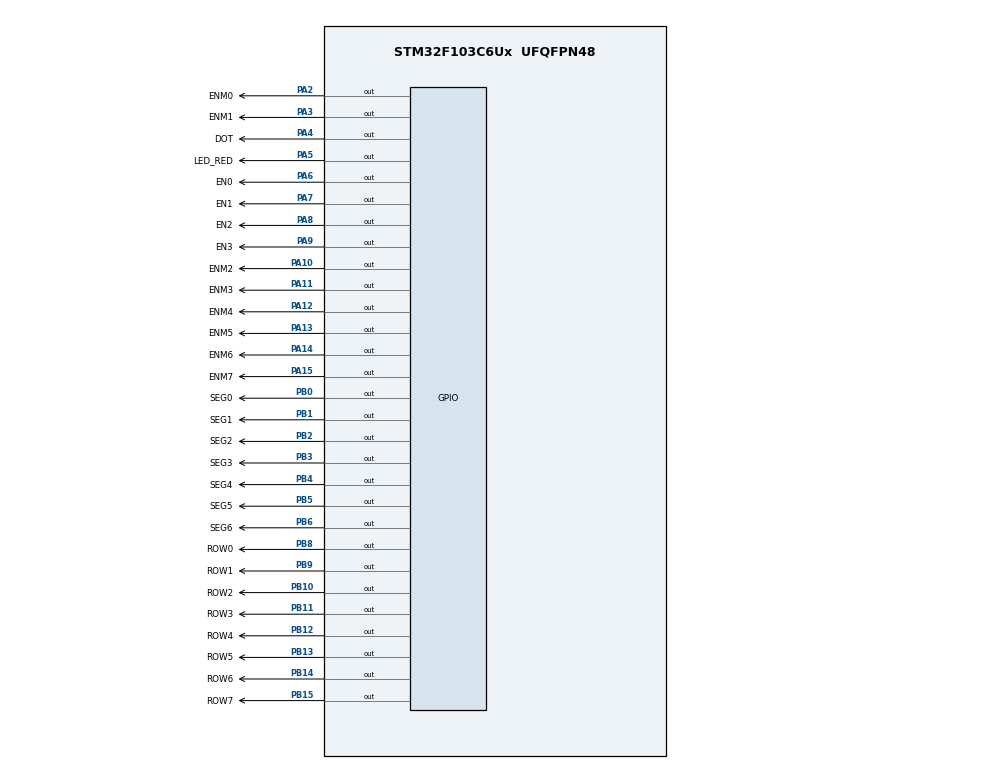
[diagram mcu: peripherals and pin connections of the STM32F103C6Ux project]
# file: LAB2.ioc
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Mcu.Family=STM32F1
Mcu.Name=STM32F103C6Ux
Mcu.Package=UFQFPN48
NVIC.PriorityGroup=NVIC_PRIORITYGROUP_4
NVIC.TIM2_IRQn=true\:0\:0\:false\:false\:true\:true\:true
PA10.GPIO_Label=ENM2
PA10.Signal=GPIO_Output
PA11.GPIO_Label=ENM3
PA11.Signal=GPIO_Output
PA12.GPIO_Label=ENM4
PA12.Signal=GPIO_Output
PA13.GPIO_Label=ENM5
PA13.Signal=GPIO_Output
PA14.GPIO_Label=ENM6
PA14.Signal=GPIO_Output
PA15.GPIO_Label=ENM7
PA15.Signal=GPIO_Output
PA2.GPIO_Label=ENM0
PA2.Signal=GPIO_Output
PA3.GPIO_Label=ENM1
PA3.Signal=GPIO_Output
PA4.GPIO_Label=DOT
PA4.Signal=GPIO_Output
PA5.GPIO_Label=LED_RED
PA5.Signal=GPIO_Output
PA6.GPIO_Label=EN0
PA6.Signal=GPIO_Output
PA7.GPIO_Label=EN1
PA7.Signal=GPIO_Output
PA8.GPIO_Label=EN2
PA8.Signal=GPIO_Output
PA9.GPIO_Label=EN3
PA9.Signal=GPIO_Output
PB0.GPIO_Label=SEG0
PB0.Signal=GPIO_Output
PB1.GPIO_Label=SEG1
PB1.Signal=GPIO_Output
PB10.GPIO_Label=ROW2
PB10.Signal=GPIO_Output
PB11.GPIO_Label=ROW3
PB11.Signal=GPIO_Output
PB12.GPIO_Label=ROW4
PB12.Signal=GPIO_Output
PB13.GPIO_Label=ROW5
PB13.Signal=GPIO_Output
PB14.GPIO_Label=ROW6
PB14.Signal=GPIO_Output
PB15.GPIO_Label=ROW7
PB15.Signal=GPIO_Output
PB2.GPIO_Label=SEG2
PB2.Signal=GPIO_Output
PB3.GPIO_Label=SEG3
PB3.Signal=GPIO_Output
PB4.GPIO_Label=SEG4
PB4.Signal=GPIO_Output
PB5.GPIO_Label=SEG5
PB5.Signal=GPIO_Output
PB6.GPIO_Label=SEG6
PB6.Signal=GPIO_Output
PB8.GPIO_Label=ROW0
PB8.Signal=GPIO_Output
PB9.GPIO_Label=ROW1
PB9.Signal=GPIO_Output
ProjectManager.HeapSize=0x200
ProjectManager.StackSize=0x400
ProjectManager.TargetToolchain=STM32CubeIDE
RCC.APB1Freq_Value=8000000
RCC.APB2Freq_Value=8000000
TIM2.Period=9
TIM2.Prescaler=7999
VP_SYS_VS_ND.Mode=No_Debug
VP_TIM2_VS_ClockSourceINT.Mode=Internal
board=custom

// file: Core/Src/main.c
/* USER CODE BEGIN Header */
/**
  ******************************************************************************
  * @file           : main.c
  * @brief          : Main program body
  ******************************************************************************
  * @attention
  *
  * <h2><center>&copy; Copyright (c) 2024 STMicroelectronics.
  * All rights reserved.</center></h2>
  *
  * This software component is licensed by ST under BSD 3-Clause license,
  * the "License"; You may not use this file except in compliance with the
  * License. You may obtain a copy of the License at:
  *                        opensource.org/licenses/BSD-3-Clause
  *
  ******************************************************************************
  */
/* USER CODE END Header */
#include "main.h"
#include "software_timer.h"

TIM_HandleTypeDef htim2;

/* USER CODE BEGIN PV */
int counter = 100;
int counter_led = 100;
/* USER CODE END PV */

void SystemClock_Config(void);
static void MX_GPIO_Init(void);
static void MX_TIM2_Init(void);

/* USER CODE BEGIN 0 */
uint8_t segmentNumber[10] = {0xc0,0xf9,0xa4,0xb0,0x99,0x92,0x82,0xf8,0x80,0x90};
void display7SEG(int num){
    uint8_t number = segmentNumber[num];
	//Check a nth bit by shifting n times to the right, then bitwise AND it:
	HAL_GPIO_WritePin(GPIOB, GPIO_PIN_0, ((number>>0)&0x01));
	HAL_GPIO_WritePin(GPIOB, GPIO_PIN_1, ((number>>1)&0x01));
	HAL_GPIO_WritePin(GPIOB, GPIO_PIN_2, ((number>>2)&0x01));
	HAL_GPIO_WritePin(GPIOB, GPIO_PIN_3, ((number>>3)&0x01));
	HAL_GPIO_WritePin(GPIOB, GPIO_PIN_4, ((number>>4)&0x01));
	HAL_GPIO_WritePin(GPIOB, GPIO_PIN_5, ((number>>5)&0x01));
	HAL_GPIO_WritePin(GPIOB, GPIO_PIN_6, ((number>>6)&0x01));
}

void ex1()
{
	HAL_GPIO_WritePin(EN2_GPIO_Port, EN2_Pin, 1);
	HAL_GPIO_WritePin(EN3_GPIO_Port, EN3_Pin, 1);

	counter--;
	if(counter > 50)
	{
		HAL_GPIO_WritePin(EN0_GPIO_Port, EN0_Pin, 0);
		HAL_GPIO_WritePin(EN1_GPIO_Port, EN1_Pin, 1);
		display7SEG(1);
	}
	if(counter <= 50)
	{
		HAL_GPIO_WritePin(EN0_GPIO_Port, EN0_Pin, 1);
		HAL_GPIO_WritePin(EN1_GPIO_Port, EN1_Pin, 0);
		display7SEG(2);
		if(counter <= 0)
			counter = 100;
	}
}

void toggle_ex2(int a, int b, int c, int d)
{
	HAL_GPIO_WritePin(EN0_GPIO_Port, EN0_Pin, a);
	HAL_GPIO_WritePin(EN1_GPIO_Port, EN1_Pin, b);
	HAL_GPIO_WritePin(EN2_GPIO_Port, EN2_Pin, c);
	HAL_GPIO_WritePin(EN3_GPIO_Port, EN3_Pin, d);
}

void ex2()
{
	counter--;
	counter_led--;

	if(counter > 150)
	{
		toggle_ex2(0, 1, 1, 1);
		display7SEG(0);
	}
	if(counter <= 150  && counter > 100)
	{
		toggle_ex2(1, 0, 1, 1);
		display7SEG(0);
	}
	if(counter <= 100  && counter > 50)
	{
		toggle_ex2(1, 1, 0, 1);
		display7SEG(3);
	}
	if(counter <= 50)
	{
		toggle_ex2(1, 1, 1, 0);
		display7SEG(0);
		if(counter <= 0)
		{
			counter = 200;
		}

	}

	if(counter_led > 50){
		HAL_GPIO_WritePin(DOT_GPIO_Port, DOT_Pin, 0);
		HAL_GPIO_WritePin(LED_RED_GPIO_Port, LED_RED_Pin, 1);
	}
	else
	{
		HAL_GPIO_WritePin(DOT_GPIO_Port, DOT_Pin, 1);
		HAL_GPIO_WritePin(LED_RED_GPIO_Port, LED_RED_Pin, 0);
		if(counter_led<= 0)
			counter_led = 100;
	}
}

const int MAX_LED = 4;
int index_led = 0;
int led_buffer [4] = {1 , 2 , 3 , 4};
void update7SEG ( int index ){
	switch ( index ) {
	  case 0:
		  toggle_ex2(0, 1, 1, 1);
		  display7SEG(led_buffer[0]);
		  break;
	  case 1:
		  toggle_ex2(1, 0, 1, 1);
		  display7SEG(led_buffer[1]);
		  break;
	  case 2:
		  toggle_ex2(1, 1, 0, 1);
		  display7SEG(led_buffer[2]);
		  break;
	  case 3:
		  toggle_ex2(1, 1, 1, 0);
		  display7SEG(led_buffer[3]);
		  break;
	  default:
		  toggle_ex2(0, 1, 1, 1);
		  display7SEG(led_buffer[0]);
		  break;
	}
}

void ex4(){
	if(counter > 0){
	  counter--;
	  if (counter <= 0) {
	    counter = 25;
	    if(index_led >= 4)
	      index_led = 0;
	    update7SEG(index_led);
	    index_led++;
	   }
	 }
	if (counter_led > 0){
	  counter_led--;
	  if(counter_led <= 0){
		  counter_led = 100;
	    HAL_GPIO_TogglePin(DOT_GPIO_Port, DOT_Pin);
	    HAL_GPIO_TogglePin(LED_RED_GPIO_Port, LED_RED_Pin);
	    }
	  }
}

int hour = 15, minute = 8, second = 50; //global variables
void updateClockBuffer(){
    //update values for the array led_buffer according to the values of hour and minute.
    led_buffer[0] = hour/10;
    led_buffer[1] = hour%10;
    led_buffer[2] = minute/10;
    led_buffer[3] = minute%10;
}

void ex5_6_7_8()
{
	if(timer1_flag == 1)
	{
		setTimer1(100);
	    second++;
	    if (second >= 60){
	        second = 0;
	        minute++;
	    }
	    if(minute >= 60){
	        minute = 0;
	        hour++;
	    }
	    if(hour >=24){
	        hour = 0;
	    }

	}

	if(timer2_flag == 1)
	{
		updateClockBuffer();
		if(index_led >= 4)
			index_led = 0;
		update7SEG(index_led++);
		setTimer2(25);//every 0.5s will move to next LEDs.
	}

	if(timer3_flag == 1)
	{
		setTimer3(100);
	    HAL_GPIO_TogglePin(DOT_GPIO_Port, DOT_Pin);
	    HAL_GPIO_TogglePin(LED_RED_GPIO_Port, LED_RED_Pin);

	}
}
//int index_led_matrix = 0;  // Track current row for matrix update
//int rowToShift = 0;        // Track current row to shift
int index_led_matrix =0;
const int MAX_LED_MATRIX = 8;
uint8_t matrix_buffer[8] = {
    0x18, // Row 0: 00011000 (Top peak)
    0x3C, // Row 1: 00111100 (Arch)
    0x66, // Row 2: 01100110 (Sides start)
    0x66, // Row 3: 01100110 (Sides)
    0x7E, // Row 4: 11111111 (Middle bar)
    0x66, // Row 5: 01100110 (Bottom sides width 6)
    0x66, // Row 6: 01100110 (Bottom sides width 6)
    0x66  // Row 7: 01100110 (Bottom sides width 6)
};

//// Helper function to control rows (PB8 to PB15)
//void setRow(int row) {
//    // Reset all rows (PB8 to PB15) to LOW
//    for (int i = 0; i < MAX_LED_MATRIX; i++) {
//        HAL_GPIO_WritePin(GPIOB, (1 << (8 + i)), 1); // Reset all row pins from PB8 to PB15
//    }
//
//    // Activate the specific row (PB8 to PB15)
//    HAL_GPIO_WritePin(GPIOB, (1 << (8 + row)), 0); // Set the specific row HIGH (PB8 + row)
//}

// Helper function to control rows (PB8 to PB15)
void setRow(int row) {
    // Reset all rows (PB8 to PB15) to HIGH
    GPIOB->BSRR = 0xFF00;  // Set PB8 to PB15 to HIGH (1 << 8) to (1 << 15)

    // Activate the specific row (PB8 to PB15)
    GPIOB->BRR = (1 << (8 + row));  // Set the specific row LOW
}

// Helper function to control columns (PA2, PA3 for first two columns and PA10-PA15 for the remaining)
void setColumns(uint8_t col_data) {
    // First two columns (PA2 and PA3)
    HAL_GPIO_WritePin(GPIOA, GPIO_PIN_2, (col_data & 0x01) ? 0 : 1); // Column 0 (PA2)
    HAL_GPIO_WritePin(GPIOA, GPIO_PIN_3, (col_data & 0x02) ? 0 : 1); // Column 1 (PA3)

    // Remaining columns (PA10 to PA15)
    HAL_GPIO_WritePin(GPIOA, GPIO_PIN_10, (col_data & 0x04) ? 0 : 1); // Column 2 (PA10)
    HAL_GPIO_WritePin(GPIOA, GPIO_PIN_11, (col_data & 0x08) ? 0 : 1); // Column 3 (PA11)
    HAL_GPIO_WritePin(GPIOA, GPIO_PIN_12, (col_data & 0x10) ? 0 : 1); // Column 4 (PA12)
    HAL_GPIO_WritePin(GPIOA, GPIO_PIN_13, (col_data & 0x20) ? 0 : 1); // Column 5 (PA13)
    HAL_GPIO_WritePin(GPIOA, GPIO_PIN_14, (col_data & 0x40) ? 0 : 1); // Column 6 (PA14)
    HAL_GPIO_WritePin(GPIOA, GPIO_PIN_15, (col_data & 0x80) ? 0 : 1); // Column 7 (PA15)
}

// Function to update the LED matrix for the current row
void updateLEDMatrix(int index) {
    switch (index) {
        case 0:
            setRow(0);           // Set row 0
            setColumns(matrix_buffer[0]); // Set columns for row 0
            break;
        case 1:
            setRow(1);           // Set row 1
            setColumns(matrix_buffer[1]); // Set columns for row 1
            break;
        case 2:
            setRow(2);           // Set row 2
            setColumns(matrix_buffer[2]); // Set columns for row 2
            break;
        case 3:
            setRow(3);           // Set row 3
            setColumns(matrix_buffer[3]); // Set columns for row 3
            break;
        case 4:
            setRow(4);           // Set row 4
            setColumns(matrix_buffer[4]); // Set columns for row 4
            break;
        case 5:
            setRow(5);           // Set row 5
            setColumns(matrix_buffer[5]); // Set columns for row 5
            break;
        case 6:
            setRow(6);           // Set row 6
            setColumns(matrix_buffer[6]); // Set columns for row 6
            break;
        case 7:
            setRow(7);           // Set row 7
            setColumns(matrix_buffer[7]); // Set columns for row 7
            break;
        default:
            // Handle invalid index case (if necessary)
            break;
    }
}

void shiftLeft() {
    for (int i = 0; i < MAX_LED_MATRIX; i++) {
        uint8_t leftmost_bit = (matrix_buffer[i] & 0x80) >> 7; // Extract the leftmost bit (bit 7)
        matrix_buffer[i] = (matrix_buffer[i] << 1) | leftmost_bit; // Shift left and append the leftmost bit to the rightmost position
    }
}

//void shiftLeft() {
//    // Process row 0
//    uint8_t leftmost_bit_0 = (matrix_buffer[0] & 0x80) >> 7;  // Extract the leftmost bit for row 0
//    matrix_buffer[0] = (matrix_buffer[0] << 1) | leftmost_bit_0;  // Shift left and append the leftmost bit to the rightmost position
//
//    // Process row 1
//    uint8_t leftmost_bit_1 = (matrix_buffer[1] & 0x80) >> 7;  // Extract the leftmost bit for row 1
//    matrix_buffer[1] = (matrix_buffer[1] << 1) | leftmost_bit_1;  // Shift left and append the leftmost bit to the rightmost position
//
//    // Process row 2
//    uint8_t leftmost_bit_2 = (matrix_buffer[2] & 0x80) >> 7;  // Extract the leftmost bit for row 2
//    matrix_buffer[2] = (matrix_buffer[2] << 1) | leftmost_bit_2;  // Shift left and append the leftmost bit to the rightmost position
//
//    // Process row 3
//    uint8_t leftmost_bit_3 = (matrix_buffer[3] & 0x80) >> 7;  // Extract the leftmost bit for row 3
//    matrix_buffer[3] = (matrix_buffer[3] << 1) | leftmost_bit_3;  // Shift left and append the leftmost bit to the rightmost position
//
//    // Process row 4
//    uint8_t leftmost_bit_4 = (matrix_buffer[4] & 0x80) >> 7;  // Extract the leftmost bit for row 4
//    matrix_buffer[4] = (matrix_buffer[4] << 1) | leftmost_bit_4;  // Shift left and append the leftmost bit to the rightmost position
//
//    // Process row 5
//    uint8_t leftmost_bit_5 = (matrix_buffer[5] & 0x80) >> 7;  // Extract the leftmost bit for row 5
//    matrix_buffer[5] = (matrix_buffer[5] << 1) | leftmost_bit_5;  // Shift left and append the leftmost bit to the rightmost position
//
//    // Process row 6
//    uint8_t leftmost_bit_6 = (matrix_buffer[6] & 0x80) >> 7;  // Extract the leftmost bit for row 6
//    matrix_buffer[6] = (matrix_buffer[6] << 1) | leftmost_bit_6;  // Shift left and append the leftmost bit to the rightmost position
//
//    // Process row 7
//    uint8_t leftmost_bit_7 = (matrix_buffer[7] & 0x80) >> 7;  // Extract the leftmost bit for row 7
//    matrix_buffer[7] = (matrix_buffer[7] << 1) | leftmost_bit_7;  // Shift left and append the leftmost bit to the rightmost position
//}

// Manually trigger the display of the next row
void ex9()
{

        updateLEDMatrix(index_led_matrix);   // Update the matrix with the current index
        index_led_matrix++;  // Move to the next row
        if (index_led_matrix >= MAX_LED_MATRIX)
            index_led_matrix = 0;  // Reset index to 0 after all rows are displayed
}

void ex10(){
        if(timer1_flag == 1)
        {
        	setTimer1(100);
        	shiftLeft();
        }
}

/* USER CODE END 0 */

int main(void)
{

  /* MCU Configuration--------------------------------------------------------*/

  /* Reset of all peripherals, Initializes the Flash interface and the Systick. */
  HAL_Init();

  /* Configure the system clock */
  SystemClock_Config();

  /* Initialize all configured peripherals */
  MX_GPIO_Init();
  MX_TIM2_Init();
  /* USER CODE BEGIN 2 */
  HAL_TIM_Base_Start_IT (& htim2 ) ;
  /* USER CODE END 2 */

  /* Infinite loop */
  /* USER CODE BEGIN WHILE */
  setTimer1(100); //timer for updating time
  setTimer2(100); //timer for 7 SEGMENTS
  setTimer3(100); //timer for LEDs
  HAL_GPIO_WritePin(DOT_GPIO_Port, DOT_Pin, 1);
  HAL_GPIO_WritePin(LED_RED_GPIO_Port, LED_RED_Pin, 0);

  while (1)
  {
    /* USER CODE END WHILE */
//	    second++;
//	    if (second >= 60){
//	        second = 0;
//	        minute++;
//	    }
//	    if(minute >= 60){
//	        minute = 0;
//	        hour++;
//	    }
//	    if(hour >=24){
//	        hour = 0;
//	    }
//	    updateClockBuffer();
//	    HAL_Delay(1000);

	  ex5_6_7_8();
//	  ex9();
//	  HAL_Delay(1);
//	  ex10();
//	    for (int row = 0; row < MAX_LED_MATRIX; row++) {
//	        setRow(row);                     // Select the current row
//	        setColumns(matrix_buffer[row]);  // Output the corresponding column data
//	        HAL_Delay(1);                    // Small delay for persistence of vision
//	    }
//
//	  ex9();
//      updateLEDMatrix(index);   // Update the matrix with the current index
//
//      index++;  // Move to the next row
//
//      if (index >= MAX_LED_MATRIX) {
//          index = 0;  // Reset index to 0 after all rows are displayed
//      }

      //   Perform shift left animation every 100ms (adjust timing as needed)
//        if (HAL_GetTick() - lastShiftTime >= 100) {
//            shiftLeft();  // Shift the columns left
//            lastShiftTime = HAL_GetTick(); // Update the last shift time
//        }

//        HAL_Delay(1);  // Small delay to allow for persistence of vision
//	  displayLetterA();
//	  if (timer1_flag == 1){
//		  setTimer1(1);
//		  updateLEDMatrix(index_matrix);
//		  if (index_matrix == 7) index_matrix =0;
//		  else index_matrix ++;
//	  }
  }
}

void SystemClock_Config(void)
{
  RCC_OscInitTypeDef RCC_OscInitStruct = {0};
  RCC_ClkInitTypeDef RCC_ClkInitStruct = {0};

  /** Initializes the RCC Oscillators according to the specified parameters
  * in the RCC_OscInitTypeDef structure.
  */
  RCC_OscInitStruct.OscillatorType = RCC_OSCILLATORTYPE_HSI;
  RCC_OscInitStruct.HSIState = RCC_HSI_ON;
  RCC_OscInitStruct.HSICalibrationValue = RCC_HSICALIBRATION_DEFAULT;
  RCC_OscInitStruct.PLL.PLLState = RCC_PLL_NONE;
  if (HAL_RCC_OscConfig(&RCC_OscInitStruct) != HAL_OK)
  {
    Error_Handler();
  }
  /** Initializes the CPU, AHB and APB buses clocks
  */
  RCC_ClkInitStruct.ClockType = RCC_CLOCKTYPE_HCLK|RCC_CLOCKTYPE_SYSCLK
                              |RCC_CLOCKTYPE_PCLK1|RCC_CLOCKTYPE_PCLK2;
  RCC_ClkInitStruct.SYSCLKSource = RCC_SYSCLKSOURCE_HSI;
  RCC_ClkInitStruct.AHBCLKDivider = RCC_SYSCLK_DIV1;
  RCC_ClkInitStruct.APB1CLKDivider = RCC_HCLK_DIV1;
  RCC_ClkInitStruct.APB2CLKDivider = RCC_HCLK_DIV1;

  if (HAL_RCC_ClockConfig(&RCC_ClkInitStruct, FLASH_LATENCY_0) != HAL_OK)
  {
    Error_Handler();
  }
}

static void MX_TIM2_Init(void)
{

  TIM_ClockConfigTypeDef sClockSourceConfig = {0};
  TIM_MasterConfigTypeDef sMasterConfig = {0};

  htim2.Instance = TIM2;
  htim2.Init.Prescaler = 7999;
  htim2.Init.CounterMode = TIM_COUNTERMODE_UP;
  htim2.Init.Period = 9;
  htim2.Init.ClockDivision = TIM_CLOCKDIVISION_DIV1;
  htim2.Init.AutoReloadPreload = TIM_AUTORELOAD_PRELOAD_DISABLE;
  if (HAL_TIM_Base_Init(&htim2) != HAL_OK)
  {
    Error_Handler();
  }
  sClockSourceConfig.ClockSource = TIM_CLOCKSOURCE_INTERNAL;
  if (HAL_TIM_ConfigClockSource(&htim2, &sClockSourceConfig) != HAL_OK)
  {
    Error_Handler();
  }
  sMasterConfig.MasterOutputTrigger = TIM_TRGO_RESET;
  sMasterConfig.MasterSlaveMode = TIM_MASTERSLAVEMODE_DISABLE;
  if (HAL_TIMEx_MasterConfigSynchronization(&htim2, &sMasterConfig) != HAL_OK)
  {
    Error_Handler();
  }

}

static void MX_GPIO_Init(void)
{
  GPIO_InitTypeDef GPIO_InitStruct = {0};

  /* GPIO Ports Clock Enable */
  __HAL_RCC_GPIOA_CLK_ENABLE();
  __HAL_RCC_GPIOB_CLK_ENABLE();

  /*Configure GPIO pin Output Level */
  HAL_GPIO_WritePin(GPIOA, ENM0_Pin|ENM1_Pin|DOT_Pin|LED_RED_Pin
                          |EN0_Pin|EN1_Pin|EN2_Pin|EN3_Pin
                          |ENM2_Pin|ENM3_Pin|ENM4_Pin|ENM5_Pin
                          |ENM6_Pin|ENM7_Pin, GPIO_PIN_RESET);

  /*Configure GPIO pin Output Level */
  HAL_GPIO_WritePin(GPIOB, SEG0_Pin|SEG1_Pin|SEG2_Pin|ROW2_Pin
                          |ROW3_Pin|ROW4_Pin|ROW5_Pin|ROW6_Pin
                          |ROW7_Pin|SEG3_Pin|SEG4_Pin|SEG5_Pin
                          |SEG6_Pin|ROW0_Pin|ROW1_Pin, GPIO_PIN_RESET);

  /*Configure GPIO pins : ENM0_Pin ENM1_Pin DOT_Pin LED_RED_Pin
                           EN0_Pin EN1_Pin EN2_Pin EN3_Pin
                           ENM2_Pin ENM3_Pin ENM4_Pin ENM5_Pin
                           ENM6_Pin ENM7_Pin */
  GPIO_InitStruct.Pin = ENM0_Pin|ENM1_Pin|DOT_Pin|LED_RED_Pin
                          |EN0_Pin|EN1_Pin|EN2_Pin|EN3_Pin
                          |ENM2_Pin|ENM3_Pin|ENM4_Pin|ENM5_Pin
                          |ENM6_Pin|ENM7_Pin;
  GPIO_InitStruct.Mode = GPIO_MODE_OUTPUT_PP;
  GPIO_InitStruct.Pull = GPIO_NOPULL;
  GPIO_InitStruct.Speed = GPIO_SPEED_FREQ_LOW;
  HAL_GPIO_Init(GPIOA, &GPIO_InitStruct);

  /*Configure GPIO pins : SEG0_Pin SEG1_Pin SEG2_Pin ROW2_Pin
                           ROW3_Pin ROW4_Pin ROW5_Pin ROW6_Pin
                           ROW7_Pin SEG3_Pin SEG4_Pin SEG5_Pin
                           SEG6_Pin ROW0_Pin ROW1_Pin */
  GPIO_InitStruct.Pin = SEG0_Pin|SEG1_Pin|SEG2_Pin|ROW2_Pin
                          |ROW3_Pin|ROW4_Pin|ROW5_Pin|ROW6_Pin
                          |ROW7_Pin|SEG3_Pin|SEG4_Pin|SEG5_Pin
                          |SEG6_Pin|ROW0_Pin|ROW1_Pin;
  GPIO_InitStruct.Mode = GPIO_MODE_OUTPUT_PP;
  GPIO_InitStruct.Pull = GPIO_NOPULL;
  GPIO_InitStruct.Speed = GPIO_SPEED_FREQ_LOW;
  HAL_GPIO_Init(GPIOB, &GPIO_InitStruct);

}

/* USER CODE BEGIN 4 */
//int counter = 100;
void HAL_TIM_PeriodElapsedCallback ( TIM_HandleTypeDef * htim )
{
//	counter--;
//	if ( counter <= 0) {
//		counter = 100;
//		HAL_GPIO_TogglePin(LED_RED_GPIO_Port, LED_RED_Pin) ;
//	}
	//ex1();
	//ex2();
	//ex4();
	timerRun();
}
/* USER CODE END 4 */

void Error_Handler(void)
{
  __disable_irq();
  while (1)
  {
  }
}

/************************ (C) COPYRIGHT STMicroelectronics *****END OF FILE****/
